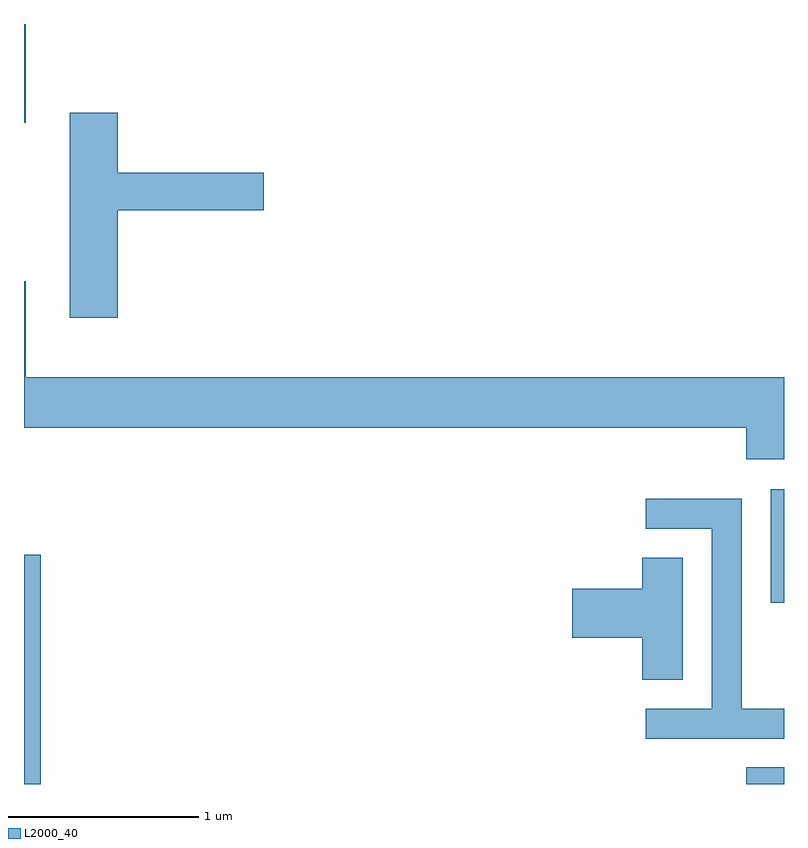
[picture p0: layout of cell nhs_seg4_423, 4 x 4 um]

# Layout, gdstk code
import gdstk
lib = gdstk.Library(unit=1e-6, precision=1e-09)
def R(c, l, rs):  # rectangles x0, y0, x1, y1
    for r in rs: c.add(gdstk.rectangle(r[:2], r[2:], *l))
def P(c, l, *ps):  # polygons
    for p in ps: c.add(gdstk.Polygon(p, *l))
L2000_40 = (2000, 40)

nhs_seg4_423 = lib.new_cell('nhs_seg4_423')
R(nhs_seg4_423, L2000_40, [(197.611,1283.982,197.699,1285.189), (201.411,1283.982,201.611,1284.069), (201.541,1284.936,201.611,1285.534), (197.611,1287.461,197.619,1287.982)])
P(nhs_seg4_423, L2000_40, [(198.104,1287.001),(198.874,1287.001),(198.874,1287.199),(198.104,1287.199),(198.104,1287.514),(197.851,1287.514),(197.851,1286.436),(198.104,1286.436)],
  [(201.611,1286.124),(197.619,1286.124),(197.619,1286.629),(197.611,1286.629),(197.611,1285.856),(201.411,1285.856),(201.411,1285.691),(201.611,1285.691)],
  [(201.611,1284.379),(201.389,1284.379),(201.389,1285.484),(200.883,1285.484),(200.883,1285.326),(201.231,1285.326),(201.231,1284.379),(200.883,1284.379),(200.883,1284.221),(201.611,1284.221)],
  [(201.079,1285.174),(200.866,1285.174),(200.866,1285.009),(200.496,1285.009),(200.496,1284.751),(200.866,1284.751),(200.866,1284.531),(201.079,1284.531)])

lib.write_gds('nhs_seg4_423.gds')
